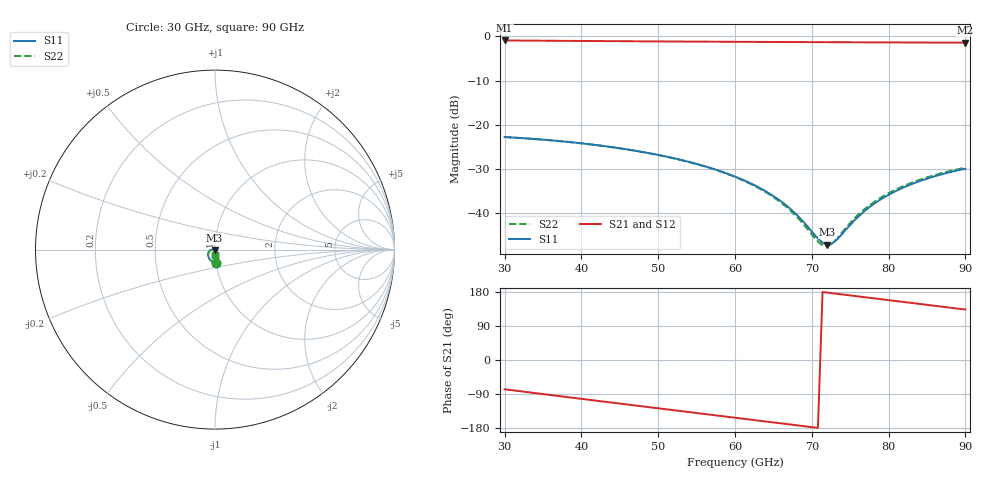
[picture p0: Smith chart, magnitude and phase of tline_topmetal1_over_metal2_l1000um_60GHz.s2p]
#  GHZ S DB R 50
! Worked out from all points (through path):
!   101 points, 30 GHz to 90 GHz, reference 50 ohm
!   highest |S21| = -0.94 dB at 30 GHz (marker M1); lowest = -1.4 dB at 90 GHz (marker M2)
!   group delay of S21, straight-line fit = 6.91 ps
!   lowest |S11| = -47.1 dB at 72 GHz (marker M3), VSWR 1.01, Z = 49.7 - j0.344 ohm
!   |S11| at or under -10 dB: start of sweep to end of sweep
!   |S22| runs from -47.4 to -22.8 dB; largest |S21 - S12| = 9.9e-14
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30  -22.77 -87.2  -0.94 -77.3  -0.94 -77.3  -22.76 -87.1
34.8  -23.33 -102.0  -0.99 -89.4  -0.99 -89.4  -23.33 -101.9
40.2  -24.22 -118.3  -1.05 -103.0  -1.05 -103.0  -24.22 -118.2
45  -25.30 -132.4  -1.11 -115.0  -1.11 -115.0  -25.31 -132.4
50.4  -26.94 -147.7  -1.16 -128.5  -1.16 -128.5  -26.97 -147.7
55.8  -29.22 -162.1  -1.21 -141.9  -1.21 -141.9  -29.27 -162.0
60  -31.69 -171.9  -1.24 -152.3  -1.24 -152.3  -31.78 -171.8
63  -34.06 -177.5  -1.27 -159.8  -1.27 -159.8  -34.21 -177.4
66  -37.30 179.9  -1.29 -167.2  -1.29 -167.2  -37.57 -179.8
67.8  -39.93 -178.1  -1.30 -171.7  -1.30 -171.7  -40.32 -177.5
70.2  -44.51 -162.8  -1.32 -177.7  -1.32 -177.7  -45.19 -160.0
70.8  -45.69 -154.1  -1.32 -179.1  -1.32 -179.1  -46.39 -149.8
71.4  -46.63 -142.5  -1.33 179.4  -1.33 179.4  -47.23 -136.5
72  -47.06 -128.7  -1.33 177.9  -1.33 177.9  -47.42 -121.3
72.6  -46.84 -114.5  -1.33 176.4  -1.33 176.4  -46.89 -106.9
73.2  -46.06 -102.2  -1.34 174.9  -1.34 174.9  -45.86 -95.2
75  -42.61 -81.1  -1.35 170.4  -1.35 170.4  -42.18 -76.9
76.8  -39.59 -74.4  -1.36 166.0  -1.36 166.0  -39.18 -71.5
78.6  -37.26 -73.2  -1.37 161.5  -1.37 161.5  -36.89 -71.0
80.4  -35.43 -74.5  -1.38 157.0  -1.38 157.0  -35.10 -72.7
84.6  -32.39 -81.4  -1.41 146.6  -1.41 146.6  -32.11 -79.9
90  -29.92 -93.3  -1.44 133.2  -1.44 133.2  -29.67 -92.0
